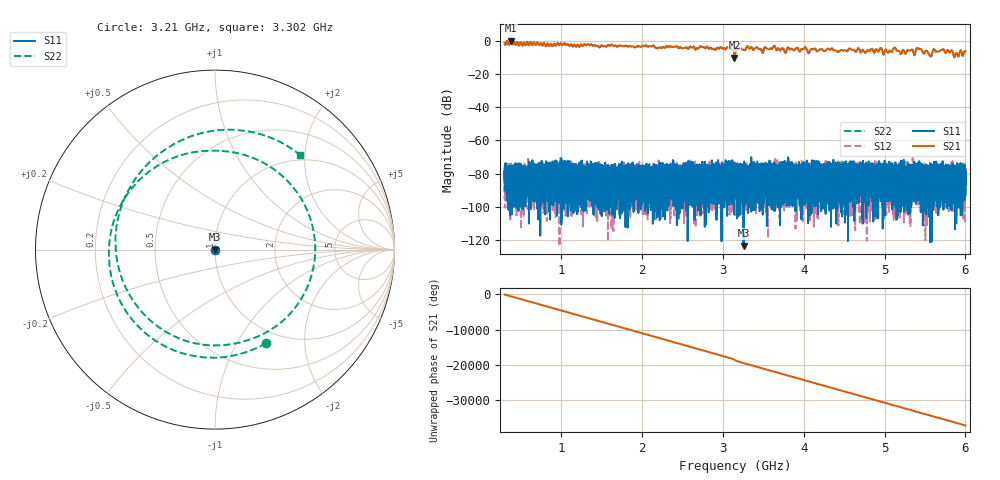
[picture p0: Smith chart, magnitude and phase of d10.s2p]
!Agilent Technologies,N5230C,SG49000117,A.08.50.07
!Agilent N5230C: A.08.50.07
!Date: Monday, March 18, 2024 18:12:10
!Correction: S11(Off)
!S21(Off)
!S12(Off)
!S22(Off)
!S2P File: Measurements: S11, S21, S12, S22:
# Hz S  RI  R 50
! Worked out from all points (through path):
!   20001 points, 300 MHz to 6 GHz, reference 50 ohm
!   highest |S21| = 0.40 dB at 373.2 MHz (marker M1); lowest = -9.9 dB at 3.144 GHz (marker M2)
!   lowest |S11| = -123.5 dB at 3.256 GHz (marker M3), VSWR 1.00, Z = 50 - j1.24e-05 ohm
!   |S11| at or under -10 dB: start of sweep to end of sweep
!   |S22| runs from -9.9 to 0.4 dB; largest |S21 - S12| = 1
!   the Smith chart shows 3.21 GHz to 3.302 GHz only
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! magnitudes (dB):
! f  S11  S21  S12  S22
! 300 MHz  -83.4  -1.1  -86.5  -1.1
! 373.2 MHz  -88.8  0.4  -90.7  0.4
! 1.25 GHz  -82.8  -2.0  -83.0  -1.9
! 2.2 GHz  -80.4  -4.3  -83.2  -4.3
! 3.071 GHz  -84.2  -4.0  -86.0  -4.0
! 3.144 GHz  -73.2  -9.9  -74.9  -9.9
! 3.15 GHz  -88.3  -6.1  -78.2  -6.1
! 3.256 GHz  -123.5  -5.1  -80.0  -5.1
! 3.324 GHz  -80.1  -4.4  -100.3  -4.4
! 3.478 GHz  -89.3  -5.5  -81.1  -5.5
! 3.627 GHz  -87.2  -3.3  -85.4  -3.2
! 3.767 GHz  -78.5  -6.7  -89.3  -6.6
! 4.1 GHz  -77.3  -4.7  -92.1  -4.6
! 5.05 GHz  -89.0  -6.6  -77.3  -6.5
! 5.127 GHz  -81.0  -3.9  -79.8  -3.9
! 5.188 GHz  -83.1  -6.5  -80.8  -6.5
! 5.361 GHz  -87.1  -7.5  -85.3  -7.5
! 5.421 GHz  -91.5  -4.6  -81.0  -4.6
! 5.562 GHz  -89.7  -8.8  -81.1  -8.8
! 5.713 GHz  -79.2  -5.1  -83.5  -5.2
! 5.886 GHz  -82.2  -7.2  -76.4  -7.3
! 6 GHz  -84.0  -5.9  -86.2  -5.9
